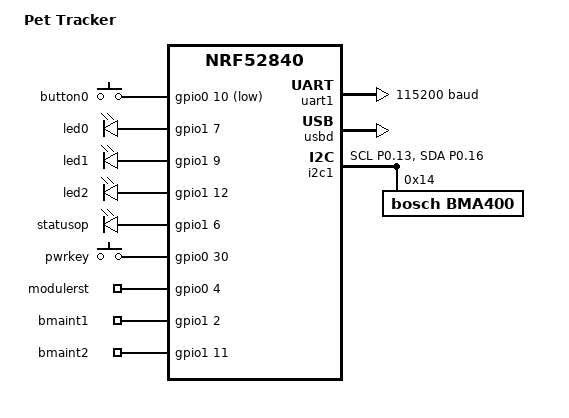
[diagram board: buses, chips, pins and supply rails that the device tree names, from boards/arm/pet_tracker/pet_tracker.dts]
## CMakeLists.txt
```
cmake_minimum_required(VERSION 3.20.0)
find_package(Zephyr REQUIRED HINTS $ENV{ZEPHYR_BASE})

project(BMA400_nrf5340)

target_sources(app PRIVATE src/main.c
                                    BMA400-API/bma400.c)
# Custom files and folders

target_sources(app PRIVATE
    src/my_lbs.c
)

zephyr_library_include_directories(.)

target_include_directories(app PRIVATE BMA400-API)
```

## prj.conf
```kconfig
# CONFIG_STDOUT_CONSOLE=y
CONFIG_I2C=y
CONFIG_SENSOR=y

# CONFIG_BMA400=y

# CONFIG_SHELL=y
# CONFIG_I2C_SHELL=y
CONFIG_SPI=y

CONFIG_GPIO=y
CONFIG_DK_LIBRARY=y 

# Enable MCUboot
CONFIG_BOOTLOADER_MCUBOOT=y

# Enable mcumgr DFU in application
CONFIG_MCUMGR=y

# Enable MCUMGR management for both OS and Images
CONFIG_MCUMGR_GRP_OS=y
CONFIG_MCUMGR_GRP_IMG=y

# Configure MCUMGR transport to UART
CONFIG_MCUMGR_TRANSPORT_UART=y

# Dependencies
# Configure dependencies for CONFIG_MCUMGR  
CONFIG_NET_BUF=y
CONFIG_ZCBOR=y
CONFIG_CRC=y

# Configure dependencies for CONFIG_MCUMGR_GRP_IMG  
CONFIG_FLASH=y
CONFIG_IMG_MANAGER=y

# Configure dependencies for CONFIG_IMG_MANAGER  
CONFIG_STREAM_FLASH=y
CONFIG_FLASH_MAP=y

# Configure dependencies for CONFIG_MCUMGR_TRANSPORT_UART 
CONFIG_BASE64=y


# Step 4.3 - Enable USB subsystem
CONFIG_USB_DEVICE_STACK=y
CONFIG_UART_LINE_CTRL=y
CONFIG_USB_DEVICE_INITIALIZE_AT_BOOT=n
# CONFIG_RTT_CONSOLE=y

# enable uart driver
CONFIG_SERIAL=y
CONFIG_UART_ASYNC_API=y


# enable console
CONFIG_CONSOLE=y
CONFIG_UART_CONSOLE=y
CONFIG_STDOUT_CONSOLE=y

# Enable logging
CONFIG_LOG=y
CONFIG_USE_SEGGER_RTT=y
CONFIG_LOG_BACKEND_UART=y
CONFIG_LOG_DEFAULT_LEVEL=3

# Set log level for I2C to debug
CONFIG_I2C_LOG_LEVEL_DBG=y

CONFIG_PRINTK=y
CONFIG_MAIN_STACK_SIZE=2048
# CONFIG_THREAD_STACK_SIZE=2048
# Configure Bluetooth
CONFIG_BT=y
CONFIG_BT_PERIPHERAL=y
CONFIG_BT_DEVICE_NAME="BMA400"
CONFIG_BT_DEVICE_APPEARANCE=833
CONFIG_BT_MAX_CONN=2
CONFIG_BT_MAX_PAIRED=1
```

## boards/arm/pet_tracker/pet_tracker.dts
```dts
// Copyright (c) 2024 Nordic Semiconductor ASA
// SPDX-License-Identifier: Apache-2.0

/dts-v1/;
#include <nordic/nrf52840_qiaa.dtsi>
#include "pet_tracker_pinctrl.dtsi"

/ {
	model = "Pet Tracker";
	compatible = "indiesemic,pet-tracker";

	chosen {
		zephyr,sram = &sram0;
		zephyr,flash = &flash0;
		zephyr,code-partition = &slot0_partition;
		zephyr,uart-mcumgr = &cdc_acm_uart0;
		zephyr,console = &cdc_acm_uart0;
		zephyr,shell-uart = &cdc_acm_uart0;
		zephyr,bt-mon-uart = &cdc_acm_uart0;
		zephyr,bt-c2h-uart = &cdc_acm_uart0;
	};

	buttons {
		compatible = "gpio-keys";
		button0: button_0 {
			gpios = <&gpio0 10 (GPIO_ACTIVE_LOW | GPIO_PULL_UP)>;
		};
	};

	leds {
		compatible = "gpio-leds";
		led0: led_0 {
			gpios = <&gpio1 7 0>;
		};

		led1: led_1 {
			gpios = <&gpio1 9 GPIO_ACTIVE_HIGH>;
		};

		led2: led_2 {
			gpios = <&gpio1 12 0>;
		};

		statusop: status_op {
			gpios = <&gpio1 6 GPIO_ACTIVE_HIGH>;
		};
	};

	ec200u {
		compatible = "gpio-keys";
		pwrkey:pwr_key {
			gpios = < &gpio0 30 GPIO_ACTIVE_HIGH >;
		};

		modulerst:module_rst {
			gpios = < &gpio0 4 GPIO_ACTIVE_HIGH >;
		};
	};

	aliases {
		button0 = &button0;
		led0 = &led0;
		led1 = &led1;
		led2 = &led2;
		status-op = &statusop;
		power-en = &pwrkey;
		module-rst = &modulerst;
	};

	bma400 {
		compatible = "gpio-keys";
		bmaint1:bma_int1 {
			gpios = < &gpio1 2 GPIO_ACTIVE_HIGH >;
		};
		bmaint2:bma_int2 {
			gpios = < &gpio1 11 GPIO_ACTIVE_HIGH >;
		};
	};
};


&flash0 {
	partitions {
		compatible = "fixed-partitions";
		#address-cells = <1>;
		#size-cells = <1>;

		boot_partition: partition@0 {
			label = "mcuboot";
			reg = <0x0 0xc000>;
		};
		slot0_partition: partition@c000 {
			label = "image-0";
			reg = <0xc000 0x72000>;
		};
		slot1_partition: partition@7e000 {
			label = "image-1";
			reg = <0x7e000 0x72000>;
		};
		scratch_partition: partition@f0000 {
			label = "image-scratch";
			reg = <0xf0000 0xa000>;
		};
		storage_partition: partition@fa000 {
			label = "storage";
			reg = <0xfa000 0x6000>;
		};
	};
};

&uicr {
	gpio-as-nreset;
	nfct-pins-as-gpios;
};

&uart0 {
	compatible = "nordic,nrf-uarte";
};

&uart1 {
	compatible = "nordic,nrf-uarte";
	status = "okay";
	current-speed = <115200>;
	pinctrl-0 = <&uart1_default>;
	pinctrl-1 = <&uart1_sleep>;
	pinctrl-names = "default", "sleep";
};

// &uart0 {
// 	compatible = "nordic,nrf-uarte";
// 	status = "okay";
// 	current-speed = <115200>;
// 	pinctrl-0 = <&uart0_defualt>;
// 	pinctrl-names = "default";
// };


&gpio0 {
	status = "okay";
};

&gpio1 {
	status = "okay";
};

&gpiote {
	status = "okay";
};

zephyr_udc0: &usbd {
	compatible = "nordic,nrf-usbd";
	status = "okay";
	cdc_acm_uart0: cdc_acm_uart0 {
		compatible = "zephyr,cdc-acm-uart";
	};
};

&pinctrl {
	i2c1_default: i2c1_default {
		group1 {
			psels = <NRF_PSEL(TWIM_SCL, 0, 13)>, <NRF_PSEL(TWIM_SDA, 0, 16)>;
			bias-pull-up;
		};
	};
};



&i2c1 {
	status = "okay";
	pinctrl-0 = <&i2c1_default>;
	pinctrl-names = "default";
	bma400: bma400@14{
		compatible="bosch,bma400";
		reg=<0x14>;
		label = "BMA400";
	};
};
```

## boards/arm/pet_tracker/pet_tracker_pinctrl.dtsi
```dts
&pinctrl {
	uart1_default: uart1_default {
		group1 {
			psels = <NRF_PSEL(UART_TX, 0, 27)>,
				<NRF_PSEL(UART_RTS, 0, 24)>;
		};
		group2 {
			psels = <NRF_PSEL(UART_RX, 0, 8)>,
				<NRF_PSEL(UART_CTS, 0, 15)>;
			bias-pull-up;
		};
	};

	uart1_sleep: uart1_sleep {
		group1 {
			psels = <NRF_PSEL(UART_TX, 0, 27)>,
				<NRF_PSEL(UART_RX, 0, 8)>,
				<NRF_PSEL(UART_RTS, 0, 24)>,
				<NRF_PSEL(UART_CTS, 0, 15)>;
			low-power-enable;
		};
	};

	// uart0_defualt: uart0_defualt {
	// 	group1 {
	// 		psels = <NRF_PSEL(UART_TX, 1, 12)>, 
	// 				<NRF_PSEL(UART_RX, 1, 14)>;
	// 	};
	// };
};
```

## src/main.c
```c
#include <zephyr/kernel.h>
#include <zephyr/device.h>
#include <zephyr/drivers/i2c.h>
#include <zephyr/drivers/sensor.h>
#include <zephyr/logging/log.h>
#include <zephyr/drivers/gpio.h>
#include "bma400.h"
#include <math.h>

#include <zephyr/bluetooth/bluetooth.h>
#include <zephyr/bluetooth/gap.h>
#include <zephyr/bluetooth/uuid.h>
#include <zephyr/bluetooth/conn.h>
#include <dk_buttons_and_leds.h>
#include "my_lbs.h"

static struct bt_le_adv_param *adv_param = BT_LE_ADV_PARAM(
	(BT_LE_ADV_OPT_CONNECTABLE |
	 BT_LE_ADV_OPT_USE_IDENTITY),
	800,
	801,
	NULL); 


LOG_MODULE_REGISTER(bma400_accel, LOG_LEVEL_INF);

//bluetooth 
#define DEVICE_NAME CONFIG_BT_DEVICE_NAME
#define DEVICE_NAME_LEN (sizeof(DEVICE_NAME) - 1)

#define RUN_STATUS_LED DK_LED1
#define CON_STATUS_LED DK_LED2
#define USER_LED DK_LED3
#define USER_BUTTON DK_BTN1_MSK

#define STACKSIZE 1024
#define PRIORITY 7

#define RUN_LED_BLINK_INTERVAL 1000
#define NOTIFY_INTERVAL 500
static bool app_button_state;

#define I2C1_NODE DT_NODELABEL(bma400)
static const struct i2c_dt_spec dev_i2c = I2C_DT_SPEC_GET(I2C1_NODE);

#define GRAVITY_EARTH (9.80665f) /* Earth's gravity in m/s^2 */

void set_interface(enum bma400_intf intf, struct bma400_dev *dev);
void delay_ms(uint32_t period);
unsigned int i2c_reg_write(unsigned char i2c_addr, unsigned char reg_addr, unsigned char *reg_data, unsigned short length);
unsigned int i2c_reg_read(unsigned char i2c_addr, unsigned char reg_addr, unsigned char *reg_data, unsigned short length);
unsigned int spi_reg_write(unsigned char cs, unsigned char reg_addr, unsigned char *reg_data, unsigned short length);
unsigned int spi_reg_read(unsigned char cs, unsigned char reg_addr, unsigned char *reg_data, unsigned short length);
void print_rslt(int8_t rslt);
float lsb_to_ms2(int16_t val, float g_range, uint8_t bit_width);
float sensor_ticks_to_s(uint32_t sensor_time);
struct bma400_int_enable step_int;
int8_t rslt;
uint32_t step_count;
uint8_t activity;
struct bma400_dev bma;

static const struct bt_data ad[] = {
	BT_DATA_BYTES(BT_DATA_FLAGS, (BT_LE_AD_GENERAL | BT_LE_AD_NO_BREDR)),
	BT_DATA(BT_DATA_NAME_COMPLETE, DEVICE_NAME, DEVICE_NAME_LEN),

};

static const struct bt_data sd[] = {
	BT_DATA_BYTES(BT_DATA_UUID128_ALL, BT_UUID_LBS_VAL),
};

static void app_led_cb(bool led_state)
{
	dk_set_led(USER_LED, led_state);
}

static bool app_button_cb(void)
{
	return app_button_state;
}

void send_data_thread(int16_t x, int16_t y, int16_t z)
{
		send_bma_sensor_notify(x, y, z);
		k_sleep(K_MSEC(NOTIFY_INTERVAL));
}

void send_data_thread_2(uint32_t steps)
{
    steps_count_notify(steps);
    k_sleep(K_MSEC(NOTIFY_INTERVAL));
}

static struct my_lbs_cb app_callbacks = {
	.led_cb = app_led_cb,
	.button_cb = app_button_cb,
};

static void button_changed(uint32_t button_state, uint32_t has_changed)
{
	if (has_changed & USER_BUTTON) {
		uint32_t user_button_state = button_state & USER_BUTTON;
		/* STEP 6 - Send indication on a button press */
		my_lbs_send_button_state_indicate(user_button_state);
		app_button_state = user_button_state ? true : false;
	}
}
static void on_connected(struct bt_conn *conn, uint8_t err)
{
	if (err) {
		printk("Connection failed (err %u)\n", err);
		return;
	}

	printk("Connected\n");

	// dk_set_led_on(CON_STATUS_LED);
}

static void on_disconnected(struct bt_conn *conn, uint8_t reason)
{
	printk("Disconnected (reason %u)\n", reason);

	// dk_set_led_off(CON_STATUS_LED);
}

struct bt_conn_cb connection_callbacks = {
	.connected = on_connected,
	.disconnected = on_disconnected,
};

static int init_button(void)
{
	int err;

	err = dk_buttons_init(button_changed);
	if (err) {
		printk("Cannot init buttons (err: %d)\n", err);
	}

	return err;
}

int main(int argc, char const *argv[])
{
    struct bma400_int_enable tap_int[2];
    struct bma400_sensor_conf conf[2];
    struct bma400_sensor_data data;
    uint8_t n_samples = 10;
    float t, x, y, z;
    uint32_t poll_period = 5, test_dur_ms = 20000;
    uint16_t int_status;
    int err;

    err = bt_enable(NULL);
	if (err) {
		LOG_ERR("Bluetooth init failed (err %d)\n", err);
		return -1;
	}
	bt_conn_cb_register(&connection_callbacks);


	LOG_INF("Bluetooth initialized\n");
	err = bt_le_adv_start(adv_param, ad, ARRAY_SIZE(ad), sd, ARRAY_SIZE(sd));
	if (err) {
		LOG_ERR("Advertising failed to start (err %d)\n", err);
		return -1;
	}

    // Check if the I2C bus is ready
    if (!device_is_ready(dev_i2c.bus)) {
        LOG_ERR("I2C bus is not ready");
        return -1;
    }

    LOG_INF("\nBMA400 device is ready");

    struct bma400_dev bma;
    bma.intf_ptr = (void *)dev_i2c.bus;
    bma.delay_ms = delay_ms;
    bma.dev_id = BMA400_I2C_ADDRESS_SDO_LOW; // I2C address of BMA400
    bma.read = i2c_reg_read;
    bma.write = i2c_reg_write;
    bma.intf = BMA400_I2C_INTF;

    
    set_interface(BMA400_I2C_INTF, &bma);
    printk("Interface setup successful.\r\n");

    rslt = bma400_init(&bma);
    print_rslt(rslt);

    if (rslt == BMA400_OK)
    {
        printk("BMA400 found with chip ID 0x%X\r\n", bma.chip_id);
    }
    rslt = bma400_soft_reset(&bma);
    print_rslt(rslt);

    /* Select the type of configuration to be modified */
    conf[0].type = BMA400_ACCEL;
    conf[1].type = BMA400_TAP_INT;

    /* Get the accelerometer configurations which are set in the sensor */
    rslt = bma400_get_sensor_conf(conf, 2, &bma);
    print_rslt(rslt);

    /* Modify the desired configurations as per macros
     * available in bma400_defs.h file */
    conf[0].param.accel.odr = BMA400_ODR_200HZ;
    conf[0].param.accel.range = BMA400_4G_RANGE;
    conf[0].param.accel.data_src = BMA400_DATA_SRC_ACCEL_FILT_1;
    conf[0].param.accel.filt1_bw = BMA400_ACCEL_FILT1_BW_1;

    conf[1].param.tap.int_chan = BMA400_UNMAP_INT_PIN;
    conf[1].param.tap.axes_sel = BMA400_Z_AXIS_EN_TAP|BMA400_Y_AXIS_EN_TAP|BMA400_X_AXIS_EN_TAP;
    conf[1].param.tap.sensitivity = BMA400_TAP_SENSITIVITY_0;
    conf[1].param.tap.tics_th = BMA400_TICS_TH_18_DATA_SAMPLES;

    /* Set the desired configurations to the sensor */
    rslt = bma400_set_sensor_conf(conf, 2, &bma);
    print_rslt(rslt);

    bma.delay_ms(100);

    tap_int[0].type = BMA400_SINGLE_TAP_INT_EN;
    tap_int[0].conf = BMA400_ENABLE;

    tap_int[1].type = BMA400_DOUBLE_TAP_INT_EN;
    tap_int[1].conf = BMA400_ENABLE;

    rslt = bma400_enable_interrupt(tap_int, 2, &bma);
    print_rslt(rslt);

    bma.delay_ms(100);

    rslt = bma400_set_power_mode(BMA400_NORMAL_MODE, &bma);
    LOG_INF("Power mode set result: %d", rslt);
    print_rslt(rslt);

    bma.delay_ms(100);

    printk("t[s], Ax[m/s2], Ay[m/s2], Az[m/s2]\r\n");

    while (n_samples && (rslt == BMA400_OK))
    {
        bma.delay_ms(10); /* Wait for 10ms as ODR is set to 100Hz */

        LOG_INF("Reading accelerometer data...");
        rslt = bma400_get_accel_data(BMA400_DATA_SENSOR_TIME, &data, &bma);

        LOG_INF("Data read result: %d", rslt);
        LOG_INF("Accel Data - X: %d, Y: %d, Z: %d, Sensor Time: %u", data.x, data.y, data.z, data.sensortime);
        send_data_thread(data.x, data.y, data.z);

        /* 12-bit accelerometer at range 2G */
        x = lsb_to_ms2(data.x, 2, 12);
        y = lsb_to_ms2(data.y, 2, 12);
        z = lsb_to_ms2(data.z, 2, 12);
        t = sensor_ticks_to_s(data.sensortime);
        
        printf("Before conversion - X: %.2f, Y: %.2f, Z: %.2f\r\n", x, y, z);

        n_samples--;
        k_msleep(1000);
    }
    
    
    if (rslt == BMA400_OK)
    {
        printk("Tap configured.\r\n");

        while (test_dur_ms)
        {
            bma.delay_ms(poll_period);

            rslt = bma400_get_interrupt_status(&int_status, &bma);
            print_rslt(rslt);

            if (int_status & BMA400_S_TAP_INT_ASSERTED)
            {
                printk("Single tap detected!\r\n");
            }

            if (int_status & BMA400_D_TAP_INT_ASSERTED)
            {
                printk("Double tap detected!\r\n");
            }

            test_dur_ms -= poll_period;
            
        }
        printk("tap configured over\r\n");
    }

    step_int.type = BMA400_STEP_COUNTER_INT_EN;
    step_int.conf = BMA400_ENABLE;

    rslt = bma400_enable_interrupt(&step_int, 2, &bma);
    print_rslt(rslt);

    rslt = bma400_set_power_mode(BMA400_NORMAL_MODE, &bma);
    print_rslt(rslt);

     while (1) {
        // Poll step count and activity
        printk("Steps counted, Activity classifier\r\n");
        rslt = bma400_get_steps_counted(&step_count, &activity, &bma);
        if (rslt == BMA400_OK) {
            LOG_INF("Steps counted: %d", step_count);
            send_data_thread_2(step_count);
            switch (activity) {
                case BMA400_STILL_ACT:
                    printf("Step counter interrupt received\n");
                    LOG_INF("Activity: Still");
                    break;
                case BMA400_WALK_ACT:
                    printf("Step counter interrupt received--1\n");
                    LOG_INF("Activity: Walking");
                    break;
                case BMA400_RUN_ACT:
                    LOG_INF("Activity: Running");
                    break;
                default:
                    LOG_INF("Activity: Undefined");
                    break;
            }
        } else {
            print_rslt(rslt);
        }

        k_msleep(1000); // Poll every second
    }
    
    rslt = bma400_perform_self_test(&bma);
    print_rslt(rslt);

    if (rslt == BMA400_OK)
    {
        printk("Self test passed.\r\n");
    }

    return 0;
}

void set_interface(enum bma400_intf intf, struct bma400_dev *dev)
{
    switch (intf)
    {
        case BMA400_I2C_INTF:
            dev->intf_ptr = (void *)dev_i2c.bus; /* To attach your interface device reference */
            dev->delay_ms = delay_ms;
            dev->dev_id = BMA400_I2C_ADDRESS_SDO_LOW;
            dev->read = i2c_reg_read;
            dev->write = i2c_reg_write;
            dev->intf = BMA400_I2C_INTF;
            break;
        case BMA400_SPI_INTF:
            dev->intf_ptr = NULL; /* To attach your interface device reference */
            dev->dev_id = 0; /* Could be used to identify the chip select line. */
            dev->read = spi_reg_read;
            dev->write = spi_reg_write;
            dev->intf = BMA400_SPI_INTF;
            break;
        default:
            printf("Interface not supported.\r\n");
    }
}

void delay_ms(uint32_t period)
{
    k_msleep(period);
    /* Wait for a period amount of ms*/
}

unsigned int i2c_reg_write(unsigned char i2c_addr, unsigned char reg_addr, unsigned char *reg_data, unsigned short length) {
    const struct device *i2c_dev = (const struct device *)dev_i2c.bus; // Retrieve the I2C device instance
    uint8_t buf[length + 1]; // Buffer to hold register address + data
    
    buf[0] = reg_addr;
    memcpy(buf + 1, reg_data, length);

    struct i2c_msg msgs[] = {
        {
            .buf = buf,
            .len = sizeof(buf),
            .flags = I2C_MSG_WRITE,
        }
    };

    int ret = i2c_transfer(i2c_dev, msgs, 1, i2c_addr);
    
    if (ret < 0) {
        return (unsigned int)ret; // Return the error code as unsigned int
    }

    return 0; // Success
}



unsigned int i2c_reg_read(unsigned char i2c_addr, unsigned char reg_addr, unsigned char *reg_data, unsigned short length) {
    const struct device *i2c_dev = (const struct device *)dev_i2c.bus; // Retrieve the I2C device instance
    struct i2c_msg msgs[] = {
        {
            .buf = &reg_addr,
            .len = 1,
            .flags = I2C_MSG_WRITE,
        },
        {
            .buf = reg_data,
            .len = length,
            .flags = I2C_MSG_READ,
        }
    };

    int ret = i2c_transfer(i2c_dev, msgs, 2, i2c_addr);
    
    if (ret < 0) {
        return (unsigned int)ret; // Return the error code as unsigned int
    }

    return 0; // Success
}


unsigned int spi_reg_write(unsigned char cs, unsigned char reg_addr, unsigned char *reg_data, unsigned short length) {
    // Implement SPI register write
    return -1; // Placeholder: replace with actual implementation
}

unsigned int spi_reg_read(unsigned char cs, unsigned char reg_addr, unsigned char *reg_data, unsigned short length) {
    // Implement SPI register read
    return -1; // Placeholder: replace with actual implementation
}


void print_rslt(int8_t rslt)
{
    switch (rslt)
    {
        case BMA400_OK:

            /* Do nothing */
            break;
        case BMA400_E_NULL_PTR:
            printf("Error [%d] : Null pointer\r\n", rslt);
            break;
        case BMA400_E_COM_FAIL:
            printf("Error [%d] : Communication failure\r\n", rslt);
            break;
        case BMA400_E_DEV_NOT_FOUND:
            printf("Error [%d] : Device not found\r\n", rslt);
            break;
        case BMA400_E_INVALID_CONFIG:
            printf("Error [%d] : Invalid configuration\r\n", rslt);
            break;
        case BMA400_W_SELF_TEST_FAIL:
            printf("Warning [%d] : Self test failed\r\n", rslt);
            break;
        default:
            printf("Error [%d] : Unknown error code\r\n", rslt);
            break;
    }
}

float lsb_to_ms2(int16_t val, float g_range, uint8_t bit_width)
{
    float half_scale = (float)(1 << bit_width) / 2.0f;

    return GRAVITY_EARTH * val * g_range / half_scale;
}

float sensor_ticks_to_s(uint32_t sensor_time)
{
    return (float)sensor_time * 0.0000390625f;
}

K_THREAD_DEFINE(send_data_thread_id, STACKSIZE, send_data_thread_2, NULL, NULL, NULL, PRIORITY, 0, 0);
```

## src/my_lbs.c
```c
#include <zephyr/types.h>
#include <stddef.h>
#include <string.h>
#include <errno.h>
#include <zephyr/sys/printk.h>
#include <zephyr/sys/byteorder.h>
#include <zephyr/kernel.h>
#include <zephyr/logging/log.h>
#include <zephyr/bluetooth/bluetooth.h>
#include <zephyr/bluetooth/hci.h>
#include <zephyr/bluetooth/conn.h>
#include <zephyr/bluetooth/uuid.h>
#include <zephyr/bluetooth/gatt.h>

#include "my_lbs.h"

LOG_MODULE_DECLARE(bma400_accel);

static bool notify_mysensor_enabled;
static bool indicate_enabled;
static bool button_state;
static struct my_lbs_cb lbs_cb;

/* STEP 4 - Define an indication parameter */
static struct bt_gatt_indicate_params ind_params;

/* STEP 3 - Implement the configuration change callback function */
static void mylbsbc_ccc_cfg_changed(const struct bt_gatt_attr *attr, uint16_t value)
{
	indicate_enabled = (value == BT_GATT_CCC_INDICATE);
}

/* STEP 13 - Define the configuration change callback function for the MYSENSOR characteristic */
static void mylbsbc_ccc_mysensor_cfg_changed(const struct bt_gatt_attr *attr, uint16_t value)
{
	notify_mysensor_enabled = (value == BT_GATT_CCC_NOTIFY);
}

// This function is called when a remote device has acknowledged the indication at its host layer
static void indicate_cb(struct bt_conn *conn, struct bt_gatt_indicate_params *params, uint8_t err)
{
	LOG_DBG("Indication %s\n", err != 0U ? "fail" : "success");
}
static ssize_t write_led(struct bt_conn *conn, const struct bt_gatt_attr *attr, const void *buf,
			 uint16_t len, uint16_t offset, uint8_t flags)
{
	LOG_DBG("Attribute write, handle: %u, conn: %p", attr->handle, (void *)conn);

	if (len != 1U) {
		LOG_DBG("Write led: Incorrect data length");
		return BT_GATT_ERR(BT_ATT_ERR_INVALID_ATTRIBUTE_LEN);
	}

	if (offset != 0) {
		LOG_DBG("Write led: Incorrect data offset");
		return BT_GATT_ERR(BT_ATT_ERR_INVALID_OFFSET);
	}

	if (lbs_cb.led_cb) {
		// Read the received value
		uint8_t val = *((uint8_t *)buf);

		if (val == 0x00 || val == 0x01) {
			// Call the application callback function to update the LED state
			lbs_cb.led_cb(val ? true : false);
		} else {
			LOG_DBG("Write led: Incorrect value");
			return BT_GATT_ERR(BT_ATT_ERR_VALUE_NOT_ALLOWED);
		}
	}

	return len;
}

static ssize_t read_button(struct bt_conn *conn, const struct bt_gatt_attr *attr, void *buf,
			   uint16_t len, uint16_t offset)
{
	// get a pointer to button_state which is passed in the BT_GATT_CHARACTERISTIC() and stored in attr->user_data
	const char *value = attr->user_data;

	LOG_DBG("Attribute read, handle: %u, conn: %p", attr->handle, (void *)conn);

	if (lbs_cb.button_cb) {
		// Call the application callback function to update the get the current value of the button
		button_state = lbs_cb.button_cb();
		return bt_gatt_attr_read(conn, attr, buf, len, offset, value, sizeof(*value));
	}

	return 0;
}

/* LED Button Service Declaration */
BT_GATT_SERVICE_DEFINE(
	my_lbs_svc, BT_GATT_PRIMARY_SERVICE(BT_UUID_LBS),
	/* STEP 1 - Modify the Button characteristic declaration to support indication */
	BT_GATT_CHARACTERISTIC(BT_UUID_LBS_BUTTON, BT_GATT_CHRC_READ | BT_GATT_CHRC_INDICATE,
			       BT_GATT_PERM_READ, read_button, NULL, &button_state),
	/* STEP 2 - Create and add the Client Characteristic Configuration Descriptor */
	BT_GATT_CCC(mylbsbc_ccc_cfg_changed, BT_GATT_PERM_READ | BT_GATT_PERM_WRITE),

	BT_GATT_CHARACTERISTIC(BT_UUID_LBS_LED, BT_GATT_CHRC_WRITE, BT_GATT_PERM_WRITE, NULL,
			       write_led, NULL),
	/* STEP 12 - Create and add the MYSENSOR characteristic and its CCCD  */
	BT_GATT_CHARACTERISTIC(BT_UUID_LBS_MYSENSOR, BT_GATT_CHRC_NOTIFY, BT_GATT_PERM_NONE, NULL,
			       NULL, NULL),

	BT_GATT_CCC(mylbsbc_ccc_mysensor_cfg_changed, BT_GATT_PERM_READ | BT_GATT_PERM_WRITE),

);
/* A function to register application callbacks for the LED and Button characteristics  */
int my_lbs_init(struct my_lbs_cb *callbacks)
{
	if (callbacks) {
		lbs_cb.led_cb = callbacks->led_cb;
		lbs_cb.button_cb = callbacks->button_cb;
	}

	return 0;
}

/* STEP 5 - Define the function to send indications */
int my_lbs_send_button_state_indicate(bool button_state)
{
	if (!indicate_enabled) {
		return -EACCES;
	}
	ind_params.attr = &my_lbs_svc.attrs[2];
	ind_params.func = indicate_cb; // A remote device has ACKed at its host layer (ATT ACK)
	ind_params.destroy = NULL;
	ind_params.data = &button_state;
	ind_params.len = sizeof(button_state);
	return bt_gatt_indicate(NULL, &ind_params);
}

/* STEP 14 - Define the function to send notifications for the MYSENSOR characteristic */
int my_lbs_send_sensor_notify(uint32_t sensor_value)
{
	if (!notify_mysensor_enabled) {
		return -EACCES;
	}

	return bt_gatt_notify(NULL, &my_lbs_svc.attrs[7], &sensor_value, sizeof(sensor_value));
}

int send_bma_sensor_notify(uint32_t x, uint32_t y, uint32_t z)
{
	if (!notify_mysensor_enabled) {
		return -EACCES;
	}

	uint32_t sensor_values[3] = {x, y, z};

	return bt_gatt_notify(NULL, &my_lbs_svc.attrs[7], sensor_values, sizeof(sensor_values));
}

int steps_count_notify(uint32_t steps)
{
	if (!notify_mysensor_enabled) {
		return -EACCES;
	}

	return bt_gatt_notify(NULL, &my_lbs_svc.attrs[7], &steps, sizeof(steps));
}
```

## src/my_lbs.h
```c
/*
 * Copyright (c) 2018 Nordic Semiconductor ASA
 *
 * SPDX-License-Identifier: LicenseRef-Nordic-5-Clause
 */

#ifndef BT_LBS_H_
#define BT_LBS_H_

/**@file
 * @defgroup bt_lbs LED Button Service API
 * @{
 * @brief API for the LED Button Service (LBS).
 */

#ifdef __cplusplus
extern "C" {
#endif

#include <zephyr/types.h>

/** @brief LBS Service UUID. */
#define BT_UUID_LBS_VAL BT_UUID_128_ENCODE(0x00001523, 0x1212, 0xefde, 0x1523, 0x785feabcd123)

/** @brief Button Characteristic UUID. */
#define BT_UUID_LBS_BUTTON_VAL                                                                     \
	BT_UUID_128_ENCODE(0x00001524, 0x1212, 0xefde, 0x1523, 0x785feabcd123)

/** @brief LED Characteristic UUID. */
#define BT_UUID_LBS_LED_VAL BT_UUID_128_ENCODE(0x00001525, 0x1212, 0xefde, 0x1523, 0x785feabcd123)

/* STEP 11.1 - Assign a UUID to the MYSENSOR characteristic */
/** @brief LED Characteristic UUID. */
#define BT_UUID_LBS_MYSENSOR_VAL                                                                   \
	BT_UUID_128_ENCODE(0x00001526, 0x1212, 0xefde, 0x1523, 0x785feabcd123)

#define BT_UUID_LBS BT_UUID_DECLARE_128(BT_UUID_LBS_VAL)
#define BT_UUID_LBS_BUTTON BT_UUID_DECLARE_128(BT_UUID_LBS_BUTTON_VAL)
#define BT_UUID_LBS_LED BT_UUID_DECLARE_128(BT_UUID_LBS_LED_VAL)
/* STEP 11.2 - Convert the array to a generic UUID */
#define BT_UUID_LBS_MYSENSOR BT_UUID_DECLARE_128(BT_UUID_LBS_MYSENSOR_VAL)

/** @brief Callback type for when an LED state change is received. */
typedef void (*led_cb_t)(const bool led_state);

/** @brief Callback type for when the button state is pulled. */
typedef bool (*button_cb_t)(void);

/** @brief Callback struct used by the LBS Service. */
struct my_lbs_cb {
	/** LED state change callback. */
	led_cb_t led_cb;
	/** Button read callback. */
	button_cb_t button_cb;
};

/** @brief Initialize the LBS Service.
 *
 * This function registers application callback functions with the My LBS
 * Service
 *
 * @param[in] callbacks Struct containing pointers to callback functions
 *			used by the service. This pointer can be NULL
 *			if no callback functions are defined.
 *
 *
 * @retval 0 If the operation was successful.
 *           Otherwise, a (negative) error code is returned.
 */
int my_lbs_init(struct my_lbs_cb *callbacks);

/** @brief Send the button state as indication.
 *
 * This function sends a binary state, typically the state of a
 * button, to all connected peers.
 *
 * @param[in] button_state The state of the button.
 *
 * @retval 0 If the operation was successful.
 *           Otherwise, a (negative) error code is returned.
 */
int my_lbs_send_button_state_indicate(bool button_state);

/** @brief Send the button state as notification.
 *
 * This function sends a binary state, typically the state of a
 * button, to all connected peers.
 *
 * @param[in] button_state The state of the button.
 *
 * @retval 0 If the operation was successful.
 *           Otherwise, a (negative) error code is returned.
 */
int my_lbs_send_button_state_notify(bool button_state);

/** @brief Send the sensor value as notification.
 *
 * This function sends an uint32_t  value, typically the value
 * of a simulated sensor to all connected peers.
 *
 * @param[in] sensor_value The value of the simulated sensor.
 *
 * @retval 0 If the operation was successful.
 *           Otherwise, a (negative) error code is returned.
 */
int my_lbs_send_sensor_notify(uint32_t sensor_value);
int send_bma_sensor_notify(uint32_t x, uint32_t y, uint32_t z);
int steps_count_notify(uint32_t steps);

#ifdef __cplusplus
}
#endif

/**
 * @}
 */

#endif /* BT_LBS_H_ */
```
